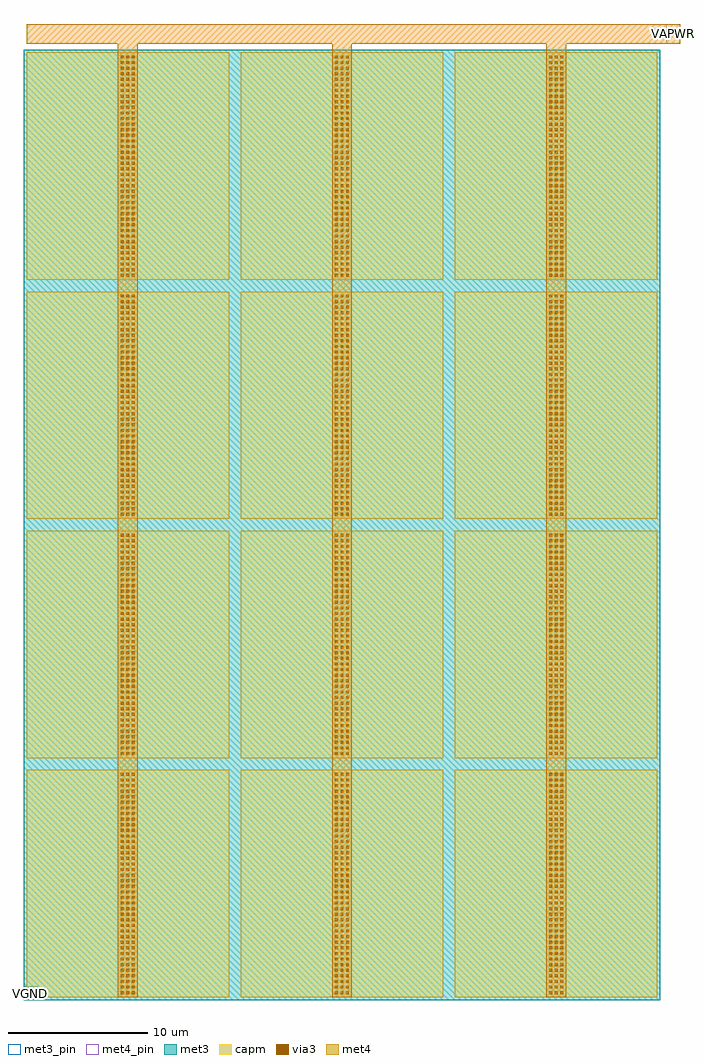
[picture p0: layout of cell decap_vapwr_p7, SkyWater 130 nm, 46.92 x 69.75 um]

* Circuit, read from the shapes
.subckt decap_vapwr_p7 VAPWR VGND
XC1 VAPWR VGND sky130_fd_pr__cap_mim_m3_1 w=14.47 l=16.25 m=12
.ends

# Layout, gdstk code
import gdstk
lib = gdstk.Library(unit=1e-6, precision=1e-09)
def R(c, l, rs):  # rectangles x0, y0, x1, y1
    for r in rs: c.add(gdstk.rectangle(r[:2], r[2:], *l))
def A(c, l, x, y, w, h, nx, ny, dx, dy):  # array of equal rectangles
    R(c, l, [(x+i*dx, y+j*dy, x+i*dx+w, y+j*dy+h) for i in range(nx) for j in range(ny)])
met3_pin = (70, 16)
met3 = (70, 20)
via3 = (70, 44)
met4_pin = (71, 16)
met4 = (71, 20)
capm = (89, 44)

decap_vapwr_p7 = lib.new_cell('decap_vapwr_p7')
R(decap_vapwr_p7, met3_pin, [(3.7,1.2,4.7,2.2)])
A(decap_vapwr_p7, met3, 3.7, 1.2, 14.87, 16.65, 3, 4, 15.31, 17.09)
R(decap_vapwr_p7, met3, [(3.7,1.2,49.19,69.12)])
A(decap_vapwr_p7, via3, 10.635, 1.625, 0.2, 0.2, 3, 40, 0.4, 0.4)
A(decap_vapwr_p7, via3, 25.945, 1.625, 0.2, 0.2, 3, 40, 0.4, 0.4)
A(decap_vapwr_p7, via3, 41.255, 1.625, 0.2, 0.2, 3, 40, 0.4, 0.4)
A(decap_vapwr_p7, via3, 10.635, 18.715, 0.2, 0.2, 3, 40, 0.4, 0.4)
A(decap_vapwr_p7, via3, 25.945, 18.715, 0.2, 0.2, 3, 40, 0.4, 0.4)
A(decap_vapwr_p7, via3, 41.255, 18.715, 0.2, 0.2, 3, 40, 0.4, 0.4)
A(decap_vapwr_p7, via3, 10.635, 35.805, 0.2, 0.2, 3, 40, 0.4, 0.4)
A(decap_vapwr_p7, via3, 25.945, 35.805, 0.2, 0.2, 3, 40, 0.4, 0.4)
A(decap_vapwr_p7, via3, 41.255, 35.805, 0.2, 0.2, 3, 40, 0.4, 0.4)
A(decap_vapwr_p7, via3, 10.635, 52.895, 0.2, 0.2, 3, 40, 0.4, 0.4)
A(decap_vapwr_p7, via3, 25.945, 52.895, 0.2, 0.2, 3, 40, 0.4, 0.4)
A(decap_vapwr_p7, via3, 41.255, 52.895, 0.2, 0.2, 3, 40, 0.4, 0.4)
R(decap_vapwr_p7, met4_pin, [(49.62,69.55,50.62,70.95)])
A(decap_vapwr_p7, met4, 10.435, 1.4, 1.4, 68.25, 3, 1, 15.31, 0)
R(decap_vapwr_p7, met4, [(3.9,69.55,50.62,70.95)])
A(decap_vapwr_p7, capm, 3.9, 1.4, 14.47, 16.25, 3, 4, 15.31, 17.09)
decap_vapwr_p7.add(gdstk.Label('VAPWR', (50.12,70.25), layer=71, texttype=5))
decap_vapwr_p7.add(gdstk.Label('VGND', (4.2,1.7), layer=70, texttype=5))

lib.write_gds('decap_vapwr_p7.gds')
